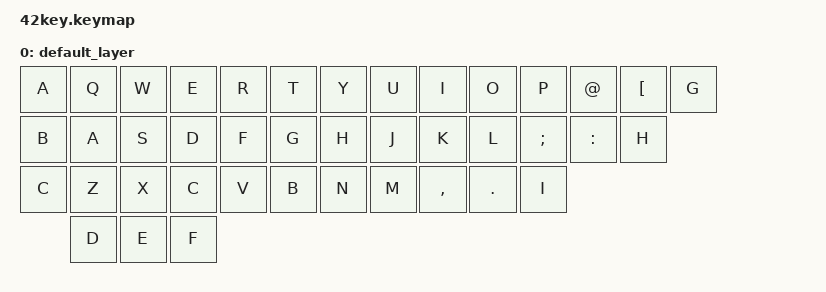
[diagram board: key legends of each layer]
#include <behaviors/mouse_keys.dtsi>
#include <behaviors.dtsi>
#include <dt-bindings/zmk/keys.h>

/ {
    behaviors {
        mymt_behavior: mymt_behavior {
            compatible = "zmk,behavior-hold-tap";
            label = "MYMT_BEHAVIOR";
            bindings = <&kp>, <&kp>;

            #binding-cells = <2>;
            tapping-term-ms = <300>;
            flavor = "tap-preferred";
        };

        mylt_behavior: mylt_behavior {
            compatible = "zmk,behavior-hold-tap";
            label = "MYLT_BEHAVIOR";
            bindings = <&mo>, <&kp>;

            #binding-cells = <2>;
            tapping-term-ms = <300>;
            flavor = "tap-preferred";
        };
    };

    keymap {
        compatible = "zmk,keymap";

        default_layer {
            // ------------------------------------------------------------------------------------------
            // | SW1  | SW2  | SW3  | SW4  | SW5  | SW6  | SW7  | SW8  | SW9  | SW10 | SW11 | SW12 | SW13 | SW14 |
            // | SW15 | SW16 | SW17 | SW18 | SW19 | SW20 | SW21 | SW22 | SW23 | SW24 | SW25 | SW26 | SW27 |
            // | SW28 | SW29 | SW30 | SW31 | SW32 | SW33 | SW34 | SW35 | SW36 | SW37 | SW38 | SW39 |
            // | SW40 | SW41 | SW42 |
            // ------------------------------------------------------------------------------------------

            bindings = <
&kp A  &kp Q  &kp W  &kp E  &kp R  &kp T  &kp Y  &kp U  &kp I      &kp O       &kp P          &kp AT_SIGN  &kp LEFT_BRACKET  &kp G
&kp B  &kp A  &kp S  &kp D  &kp F  &kp G  &kp H  &kp J  &kp K      &kp L       &kp SEMICOLON  &kp COLON    &kp H
&kp C  &kp Z  &kp X  &kp C  &kp V  &kp B  &kp N  &kp M  &kp COMMA  &kp PERIOD  &kp I
       &kp D  &kp E  &kp F
            >;
        };
    };
};
